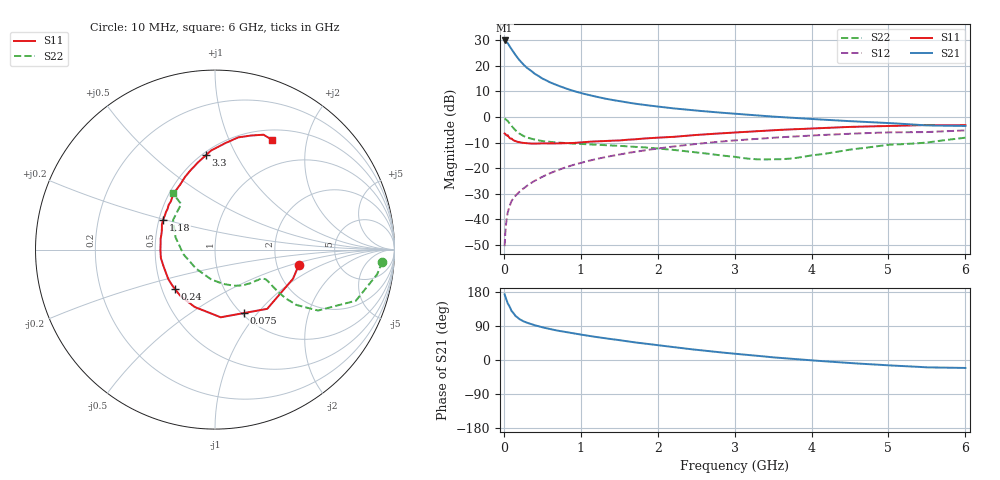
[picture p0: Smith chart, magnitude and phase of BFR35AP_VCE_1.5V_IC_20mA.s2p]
! Infineon Technologies  Discrete & RF Semiconductors
! BFR35AP
! VCE =  1.5 V,  IC =  20 mA
! Common Emitter S-Parameters:  Nov 2015
# GHz  S  MA  R  50
!  f  S11  S21  S12  S22
! GHz  MAG  ANG  MAG  ANG  MAG  ANG  MAG  ANG
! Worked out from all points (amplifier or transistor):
!   210 points, 10 MHz to 6 GHz, reference 50 ohm
!   highest |S21| = 29.9 dB at 10 MHz (marker M1)
!   |S21| within 3 dB of that: start of sweep to 91.03 MHz
!   unconditionally stable (mu >= 1): 288.2 MHz to end of sweep
!   at 185 MHz: K = 0.83, MSG = 26.3 dB, |S12| = -29.8 dB
!   at 1.52 GHz: K = 1.17, MAG = 7.8 dB, |S12| = -14.5 dB
!   at 6 GHz: K = 1.03, MAG = -0.2 dB, |S12| = -5.3 dB
!   S11 on the Smith chart (normalised r, x): 10 MHz: 2.65, -0.60; 75 MHz: 1.02, -0.85; 240 MHz: 0.58, -0.28; 1.18 GHz: 0.53, +0.19; 3.3 GHz: 0.52, +0.76; 6 GHz: 0.63, +1.46
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0.01  0.4744 -10.6  31.1 173.3  0.003 90.4  0.9346 -4.1
0.02  0.464 -20.5  30.45 166.7  0.0057 82.7  0.9137 -8.7
0.05  0.4399 -48.6  27.54 149.6  0.0135 73.1  0.8354 -19.9
0.075  0.3886 -65.5  23.95 140.9  0.0181 69.0  0.748 -24.6
0.1  0.3784 -85.2  21.1 129.4  0.0228 66.5  0.6671 -30.6
0.15  0.3393 -109.4  16.24 116.4  0.0288 63.1  0.5491 -34.2
0.2  0.3225 -126.5  12.98 108.3  0.0341 63.9  0.4761 -34.6
0.24  0.313 -135.8  11.13 103.8  0.0385 64.4  0.4368 -34.1
0.3  0.3078 -147.6  9.099 98.1  0.0452 66.2  0.3967 -33.1
0.4  0.3015 -161.7  6.987 91.7  0.0564 67.6  0.3598 -31.6
0.5  0.3052 -171.1  5.63 86.1  0.0678 68.5  0.3373 -30.6
0.6  0.3044 -178.8  4.736 81.6  0.0794 68.5  0.3251 -30.4
0.7  0.3041 175.0  4.111 77.4  0.0912 68.6  0.3164 -30.9
1.02  0.32 157.5  2.879 66.4  0.1288 66.5  0.2964 -34.2
1.18  0.3325 150.6  2.525 61.4  0.1479 65.0  0.2877 -36.9
1.6  0.3587 136.0  1.92 49.3  0.1965 60.4  0.2666 -45.4
2.02  0.3954 123.5  1.576 38.5  0.2437 55.0  0.2406 -56.4
3.1  0.5063 99.0  1.126 14.7  0.3567 39.8  0.1582 -104.4
3.3  0.5283 95.5  1.068 11.1  0.3747 36.8  0.1485 -119.2
4.1  0.6034 83.2  0.894 -2.4  0.4412 25.5  0.1847 -177.7
5.1  0.6708 71.5  0.746 -15.1  0.5005 11.3  0.2898 140.8
6  0.6888 62.3  0.666 -21.0  0.5457 1.2  0.3933 126.8
